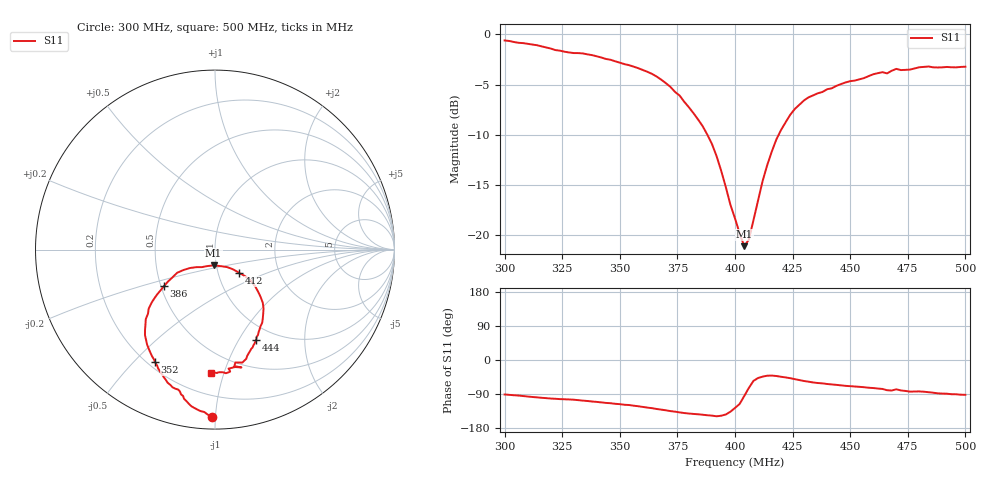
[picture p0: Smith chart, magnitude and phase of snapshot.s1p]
! Copper repaired center connection; short exposed braid; retained calibration may require renewal if calibrated cable replaced
# Hz S RI R 50
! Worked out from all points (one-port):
!   101 points, 300 MHz to 500 MHz, reference 50 ohm
!   lowest |S11| = -21.1 dB at 404 MHz (marker M1), VSWR 1.19, Z = 48.4 - j8.59 ohm
!   |S11| at or under -10 dB: 388 MHz to 419 MHz (30.94 MHz wide, 7.67 % of centre)
!   S11 on the Smith chart (normalised r, x): 300 MHz: 0.07, -0.98; 352 MHz: 0.23, -0.58; 386 MHz: 0.52, -0.24; 412 MHz: 1.26, -0.34; 444 MHz: 0.82, -1.19; 500 MHz: 0.34, -0.91
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3e8  -0.0167 -0.9313
3.16e8  -0.1467 -0.8582
3.26e8  -0.1932 -0.7958
3.36e8  -0.248 -0.7546
3.5e8  -0.3222 -0.6465
3.52e8  -0.3352 -0.6263
3.58e8  -0.3595 -0.5749
3.66e8  -0.39 -0.4769
3.76e8  -0.3696 -0.3295
3.86e8  -0.2837 -0.2027
3.92e8  -0.2112 -0.1293
4e8  -0.0723 -0.0975
4.04e8  -0.00808 -0.088
4.06e8  0.0265 -0.0914
4.12e8  0.1345 -0.1292
4.18e8  0.2224 -0.2022
4.26e8  0.2704 -0.3286
4.32e8  0.2625 -0.409
4.44e8  0.2288 -0.5042
4.5e8  0.2089 -0.5459
4.64e8  0.1525 -0.6294
4.66e8  0.1137 -0.6287
4.68e8  0.1079 -0.6492
4.7e8  0.1473 -0.6565
4.76e8  0.0752 -0.6631
4.8e8  0.0843 -0.6799
4.88e8  0.0242 -0.6831
5e8  -0.0234 -0.6891
